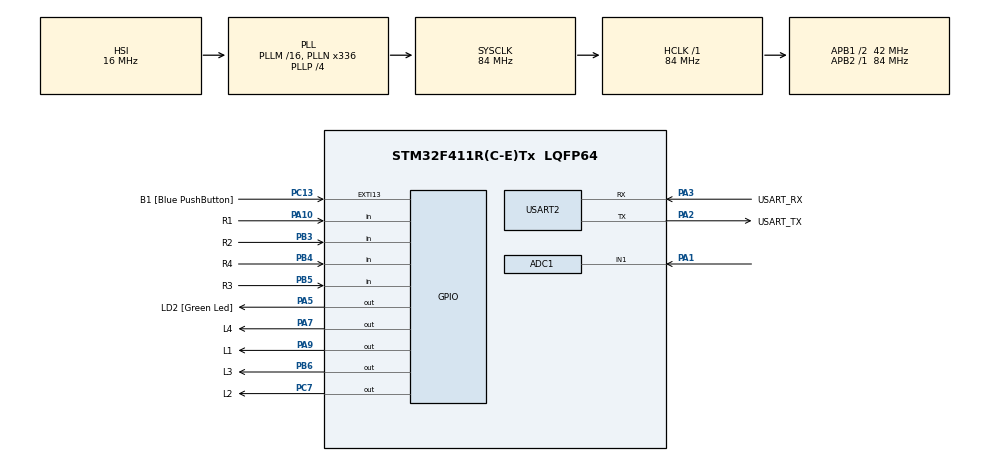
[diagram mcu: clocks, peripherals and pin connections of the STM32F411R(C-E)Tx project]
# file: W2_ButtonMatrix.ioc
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ADC1.Channel-5\#ChannelRegularConversion=ADC_CHANNEL_1
ADC1.ContinuousConvMode=ENABLE
ADC1.DMAContinuousRequests=ENABLE
ADC1.NbrOfConversionFlag=1
ADC1.Rank-5\#ChannelRegularConversion=1
ADC1.SamplingTime-5\#ChannelRegularConversion=ADC_SAMPLETIME_3CYCLES
ADC1.ScanConvMode=ENABLE
ADC1.master=1
Dma.ADC1.0.Direction=DMA_PERIPH_TO_MEMORY
Dma.ADC1.0.FIFOMode=DMA_FIFOMODE_DISABLE
Dma.ADC1.0.Instance=DMA2_Stream0
Dma.ADC1.0.MemDataAlignment=DMA_MDATAALIGN_WORD
Dma.ADC1.0.MemInc=DMA_MINC_ENABLE
Dma.ADC1.0.Mode=DMA_CIRCULAR
Dma.ADC1.0.PeriphDataAlignment=DMA_PDATAALIGN_WORD
Dma.ADC1.0.PeriphInc=DMA_PINC_DISABLE
Dma.ADC1.0.Priority=DMA_PRIORITY_LOW
Dma.Request0=ADC1
Mcu.Family=STM32F4
Mcu.Name=STM32F411R(C-E)Tx
Mcu.Package=LQFP64
NVIC.DMA2_Stream0_IRQn=true\:0\:0\:false\:false\:true\:false\:true\:true
NVIC.EXTI15_10_IRQn=true\:0\:0\:false\:false\:true\:true\:true\:true
NVIC.PriorityGroup=NVIC_PRIORITYGROUP_0
NVIC.TIM3_IRQn=true\:0\:0\:false\:false\:true\:true\:true\:true
PA1.Signal=ADCx_IN1
PA10.GPIO_Label=R1
PA10.GPIO_Mode=GPIO_MODE_INPUT
PA10.GPIO_PuPd=GPIO_PULLUP
PA10.Signal=GPIO_Input
PA13.GPIO_Label=TMS
PA13.Mode=Serial_Wire
PA13.Signal=SYS_JTMS-SWDIO
PA14.GPIO_Label=TCK
PA14.Mode=Serial_Wire
PA14.Signal=SYS_JTCK-SWCLK
PA2.GPIO_Label=USART_TX
PA2.Mode=Asynchronous
PA2.Signal=USART2_TX
PA3.GPIO_Label=USART_RX
PA3.Mode=Asynchronous
PA3.Signal=USART2_RX
PA5.GPIO_Label=LD2 [Green Led]
PA5.Signal=GPIO_Output
PA7.GPIO_Label=L4
PA7.GPIO_ModeDefaultOutputPP=GPIO_MODE_OUTPUT_OD
PA7.GPIO_PuPd=GPIO_NOPULL
PA7.Signal=GPIO_Output
PA9.GPIO_Label=L1
PA9.GPIO_ModeDefaultOutputPP=GPIO_MODE_OUTPUT_OD
PA9.GPIO_PuPd=GPIO_NOPULL
PA9.Signal=GPIO_Output
PB3.GPIO_Label=R2
PB3.GPIO_Mode=GPIO_MODE_INPUT
PB3.GPIO_PuPd=GPIO_PULLUP
PB3.Signal=GPIO_Input
PB4.GPIO_Label=R4
PB4.GPIO_Mode=GPIO_MODE_INPUT
PB4.GPIO_PuPd=GPIO_PULLUP
PB4.Signal=GPIO_Input
PB5.GPIO_Label=R3
PB5.GPIO_Mode=GPIO_MODE_INPUT
PB5.GPIO_PuPd=GPIO_PULLUP
PB5.Signal=GPIO_Input
PB6.GPIO_Label=L3
PB6.GPIO_ModeDefaultOutputPP=GPIO_MODE_OUTPUT_OD
PB6.GPIO_PuPd=GPIO_NOPULL
PB6.Signal=GPIO_Output
PC13-ANTI_TAMP.GPIO_Label=B1 [Blue PushButton]
PC13-ANTI_TAMP.GPIO_ModeDefaultEXTI=GPIO_MODE_IT_FALLING
PC13-ANTI_TAMP.GPIO_PuPd=GPIO_PULLUP
PC13-ANTI_TAMP.Signal=GPXTI13
PC14-OSC32_IN.Mode=LSE-External-Oscillator
PC14-OSC32_IN.Signal=RCC_OSC32_IN
PC15-OSC32_OUT.Mode=LSE-External-Oscillator
PC15-OSC32_OUT.Signal=RCC_OSC32_OUT
PC7.GPIO_Label=L2
PC7.GPIO_ModeDefaultOutputPP=GPIO_MODE_OUTPUT_OD
PC7.GPIO_PuPd=GPIO_NOPULL
PC7.Signal=GPIO_Output
PH0\ -\ OSC_IN.Mode=HSE-External-Clock-Source
PH0\ -\ OSC_IN.Signal=RCC_OSC_IN
PH1\ -\ OSC_OUT.Mode=HSE-External-Clock-Source
PH1\ -\ OSC_OUT.Signal=RCC_OSC_OUT
ProjectManager.HeapSize=0x200
ProjectManager.StackSize=0x400
ProjectManager.TargetToolchain=STM32CubeIDE
RCC.48MHZClocksFreq_Value=84000000
RCC.AHBFreq_Value=84000000
RCC.APB1CLKDivider=RCC_HCLK_DIV2
RCC.APB1Freq_Value=42000000
RCC.APB1TimFreq_Value=84000000
RCC.APB2Freq_Value=84000000
RCC.APB2TimFreq_Value=84000000
RCC.CortexFreq_Value=84000000
RCC.FLatency-AdvancedSettings=FLASH_LATENCY_2
RCC.HCLKFreq_Value=84000000
RCC.HSE_VALUE=8000000
RCC.HSI_VALUE=16000000
RCC.PLLN=336
RCC.PLLP=RCC_PLLP_DIV4
RCC.SYSCLKFreq_VALUE=84000000
RCC.SYSCLKSource=RCC_SYSCLKSOURCE_PLLCLK
RCC.VCOOutputFreq_Value=336000000
SH.ADCx_IN1.0=ADC1_IN1,IN1
TIM3.Period=4999
TIM3.Prescaler=99
USART2.VirtualMode=VM_ASYNC
VP_TIM3_VS_ClockSourceINT.Mode=Internal
board=NUCLEO-F411RE

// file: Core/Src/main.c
/* USER CODE BEGIN Header */
/**
  ******************************************************************************
  * @file           : main.c
  * @brief          : Main program body
  ******************************************************************************
  * @attention
  *
  * Copyright (c) 2022 STMicroelectronics.
  * All rights reserved.
  *
  * This software is licensed under terms that can be found in the LICENSE file
  * in the root directory of this software component.
  * If no LICENSE file comes with this software, it is provided AS-IS.
  *
  ******************************************************************************
  */
/* USER CODE END Header */
#include "main.h"

 ADC_HandleTypeDef hadc1;
DMA_HandleTypeDef hdma_adc1;

TIM_HandleTypeDef htim3;

UART_HandleTypeDef huart2;

/* USER CODE BEGIN PV */
	//------------------------------------------------------------------------------------------Values
uint32_t ADCData[1]={0};

uint16_t ButtonState = 0; //store 4x4

static int CurrentDegree = 0;
static int InputDegree = 0;

int count100 = 0;
int count10 = 0;
int count1 = 0;
int count_100 = 0;
int count_10 = 0;
int count_1 = 0;

static int checktoggle[2] = {0};

//static uint16_t DataAns[2] = {0};
//static uint16_t DataAns[11] = {0};

//int i = 0;

/* USER CODE END PV */

void SystemClock_Config(void);
static void MX_GPIO_Init(void);
static void MX_USART2_UART_Init(void);
static void MX_DMA_Init(void);
static void MX_TIM3_Init(void);
static void MX_ADC1_Init(void);
/* USER CODE BEGIN PFP */
void ButtonMatrixRead();
void KEYDEG();
/* USER CODE END PFP */

int main(void)
{

  /* MCU Configuration--------------------------------------------------------*/

  /* Reset of all peripherals, Initializes the Flash interface and the Systick. */
  HAL_Init();

  /* Configure the system clock */
  SystemClock_Config();

  /* Initialize all configured peripherals */
  MX_GPIO_Init();
  MX_USART2_UART_Init();
  MX_DMA_Init();
  MX_TIM3_Init();
  MX_ADC1_Init();
  /* USER CODE BEGIN 2 */

  //-------------------------------------------------------------------------------------------------Start reading ADC by DMA
  HAL_ADC_Start_DMA(&hadc1, ADCData, 1);	//(1channel form ADCData)

  /* USER CODE END 2 */

  /* Infinite loop */
  /* USER CODE BEGIN WHILE */
  while (1)
  {
	  //-------------------------------------------------------------------------------------------------------------------------------------------------- Competency
	  ButtonMatrixRead();
	  KEYDEG();

    /* USER CODE END WHILE */

  }
}

void SystemClock_Config(void)
{
  RCC_OscInitTypeDef RCC_OscInitStruct = {0};
  RCC_ClkInitTypeDef RCC_ClkInitStruct = {0};

  /** Configure the main internal regulator output voltage
  */
  __HAL_RCC_PWR_CLK_ENABLE();
  __HAL_PWR_VOLTAGESCALING_CONFIG(PWR_REGULATOR_VOLTAGE_SCALE1);

  /** Initializes the RCC Oscillators according to the specified parameters
  * in the RCC_OscInitTypeDef structure.
  */
  RCC_OscInitStruct.OscillatorType = RCC_OSCILLATORTYPE_HSI;
  RCC_OscInitStruct.HSIState = RCC_HSI_ON;
  RCC_OscInitStruct.HSICalibrationValue = RCC_HSICALIBRATION_DEFAULT;
  RCC_OscInitStruct.PLL.PLLState = RCC_PLL_ON;
  RCC_OscInitStruct.PLL.PLLSource = RCC_PLLSOURCE_HSI;
  RCC_OscInitStruct.PLL.PLLM = 16;
  RCC_OscInitStruct.PLL.PLLN = 336;
  RCC_OscInitStruct.PLL.PLLP = RCC_PLLP_DIV4;
  RCC_OscInitStruct.PLL.PLLQ = 4;
  if (HAL_RCC_OscConfig(&RCC_OscInitStruct) != HAL_OK)
  {
    Error_Handler();
  }

  /** Initializes the CPU, AHB and APB buses clocks
  */
  RCC_ClkInitStruct.ClockType = RCC_CLOCKTYPE_HCLK|RCC_CLOCKTYPE_SYSCLK
                              |RCC_CLOCKTYPE_PCLK1|RCC_CLOCKTYPE_PCLK2;
  RCC_ClkInitStruct.SYSCLKSource = RCC_SYSCLKSOURCE_PLLCLK;
  RCC_ClkInitStruct.AHBCLKDivider = RCC_SYSCLK_DIV1;
  RCC_ClkInitStruct.APB1CLKDivider = RCC_HCLK_DIV2;
  RCC_ClkInitStruct.APB2CLKDivider = RCC_HCLK_DIV1;

  if (HAL_RCC_ClockConfig(&RCC_ClkInitStruct, FLASH_LATENCY_2) != HAL_OK)
  {
    Error_Handler();
  }
}

static void MX_ADC1_Init(void)
{

  ADC_ChannelConfTypeDef sConfig = {0};

  /** Configure the global features of the ADC (Clock, Resolution, Data Alignment and number of conversion)
  */
  hadc1.Instance = ADC1;
  hadc1.Init.ClockPrescaler = ADC_CLOCK_SYNC_PCLK_DIV4;
  hadc1.Init.Resolution = ADC_RESOLUTION_12B;
  hadc1.Init.ScanConvMode = ENABLE;
  hadc1.Init.ContinuousConvMode = ENABLE;
  hadc1.Init.DiscontinuousConvMode = DISABLE;
  hadc1.Init.ExternalTrigConvEdge = ADC_EXTERNALTRIGCONVEDGE_NONE;
  hadc1.Init.ExternalTrigConv = ADC_SOFTWARE_START;
  hadc1.Init.DataAlign = ADC_DATAALIGN_RIGHT;
  hadc1.Init.NbrOfConversion = 1;
  hadc1.Init.DMAContinuousRequests = ENABLE;
  hadc1.Init.EOCSelection = ADC_EOC_SINGLE_CONV;
  if (HAL_ADC_Init(&hadc1) != HAL_OK)
  {
    Error_Handler();
  }

  /** Configure for the selected ADC regular channel its corresponding rank in the sequencer and its sample time.
  */
  sConfig.Channel = ADC_CHANNEL_1;
  sConfig.Rank = 1;
  sConfig.SamplingTime = ADC_SAMPLETIME_3CYCLES;
  if (HAL_ADC_ConfigChannel(&hadc1, &sConfig) != HAL_OK)
  {
    Error_Handler();
  }

}

static void MX_TIM3_Init(void)
{

  TIM_ClockConfigTypeDef sClockSourceConfig = {0};
  TIM_MasterConfigTypeDef sMasterConfig = {0};

  htim3.Instance = TIM3;
  htim3.Init.Prescaler = 99;
  htim3.Init.CounterMode = TIM_COUNTERMODE_UP;
  htim3.Init.Period = 4999;
  htim3.Init.ClockDivision = TIM_CLOCKDIVISION_DIV1;
  htim3.Init.AutoReloadPreload = TIM_AUTORELOAD_PRELOAD_DISABLE;
  if (HAL_TIM_Base_Init(&htim3) != HAL_OK)
  {
    Error_Handler();
  }
  sClockSourceConfig.ClockSource = TIM_CLOCKSOURCE_INTERNAL;
  if (HAL_TIM_ConfigClockSource(&htim3, &sClockSourceConfig) != HAL_OK)
  {
    Error_Handler();
  }
  sMasterConfig.MasterOutputTrigger = TIM_TRGO_RESET;
  sMasterConfig.MasterSlaveMode = TIM_MASTERSLAVEMODE_DISABLE;
  if (HAL_TIMEx_MasterConfigSynchronization(&htim3, &sMasterConfig) != HAL_OK)
  {
    Error_Handler();
  }

}

static void MX_USART2_UART_Init(void)
{

  huart2.Instance = USART2;
  huart2.Init.BaudRate = 115200;
  huart2.Init.WordLength = UART_WORDLENGTH_8B;
  huart2.Init.StopBits = UART_STOPBITS_1;
  huart2.Init.Parity = UART_PARITY_NONE;
  huart2.Init.Mode = UART_MODE_TX_RX;
  huart2.Init.HwFlowCtl = UART_HWCONTROL_NONE;
  huart2.Init.OverSampling = UART_OVERSAMPLING_16;
  if (HAL_UART_Init(&huart2) != HAL_OK)
  {
    Error_Handler();
  }

}

static void MX_DMA_Init(void)
{

  /* DMA controller clock enable */
  __HAL_RCC_DMA2_CLK_ENABLE();

  /* DMA interrupt init */
  /* DMA2_Stream0_IRQn interrupt configuration */
  HAL_NVIC_SetPriority(DMA2_Stream0_IRQn, 0, 0);
  HAL_NVIC_EnableIRQ(DMA2_Stream0_IRQn);

}

static void MX_GPIO_Init(void)
{
  GPIO_InitTypeDef GPIO_InitStruct = {0};

  /* GPIO Ports Clock Enable */
  __HAL_RCC_GPIOC_CLK_ENABLE();
  __HAL_RCC_GPIOH_CLK_ENABLE();
  __HAL_RCC_GPIOA_CLK_ENABLE();
  __HAL_RCC_GPIOB_CLK_ENABLE();

  /*Configure GPIO pin Output Level */
  HAL_GPIO_WritePin(GPIOA, LD2_Pin|L4_Pin|L1_Pin, GPIO_PIN_RESET);

  /*Configure GPIO pin Output Level */
  HAL_GPIO_WritePin(L2_GPIO_Port, L2_Pin, GPIO_PIN_RESET);

  /*Configure GPIO pin Output Level */
  HAL_GPIO_WritePin(L3_GPIO_Port, L3_Pin, GPIO_PIN_RESET);

  /*Configure GPIO pin : B1_Pin */
  GPIO_InitStruct.Pin = B1_Pin;
  GPIO_InitStruct.Mode = GPIO_MODE_IT_FALLING;
  GPIO_InitStruct.Pull = GPIO_PULLUP;
  HAL_GPIO_Init(B1_GPIO_Port, &GPIO_InitStruct);

  /*Configure GPIO pin : LD2_Pin */
  GPIO_InitStruct.Pin = LD2_Pin;
  GPIO_InitStruct.Mode = GPIO_MODE_OUTPUT_PP;
  GPIO_InitStruct.Pull = GPIO_NOPULL;
  GPIO_InitStruct.Speed = GPIO_SPEED_FREQ_LOW;
  HAL_GPIO_Init(LD2_GPIO_Port, &GPIO_InitStruct);

  /*Configure GPIO pins : L4_Pin L1_Pin */
  GPIO_InitStruct.Pin = L4_Pin|L1_Pin;
  GPIO_InitStruct.Mode = GPIO_MODE_OUTPUT_OD;
  GPIO_InitStruct.Pull = GPIO_NOPULL;
  GPIO_InitStruct.Speed = GPIO_SPEED_FREQ_LOW;
  HAL_GPIO_Init(GPIOA, &GPIO_InitStruct);

  /*Configure GPIO pin : L2_Pin */
  GPIO_InitStruct.Pin = L2_Pin;
  GPIO_InitStruct.Mode = GPIO_MODE_OUTPUT_OD;
  GPIO_InitStruct.Pull = GPIO_NOPULL;
  GPIO_InitStruct.Speed = GPIO_SPEED_FREQ_LOW;
  HAL_GPIO_Init(L2_GPIO_Port, &GPIO_InitStruct);

  /*Configure GPIO pin : R1_Pin */
  GPIO_InitStruct.Pin = R1_Pin;
  GPIO_InitStruct.Mode = GPIO_MODE_INPUT;
  GPIO_InitStruct.Pull = GPIO_PULLUP;
  HAL_GPIO_Init(R1_GPIO_Port, &GPIO_InitStruct);

  /*Configure GPIO pins : R2_Pin R4_Pin R3_Pin */
  GPIO_InitStruct.Pin = R2_Pin|R4_Pin|R3_Pin;
  GPIO_InitStruct.Mode = GPIO_MODE_INPUT;
  GPIO_InitStruct.Pull = GPIO_PULLUP;
  HAL_GPIO_Init(GPIOB, &GPIO_InitStruct);

  /*Configure GPIO pin : L3_Pin */
  GPIO_InitStruct.Pin = L3_Pin;
  GPIO_InitStruct.Mode = GPIO_MODE_OUTPUT_OD;
  GPIO_InitStruct.Pull = GPIO_NOPULL;
  GPIO_InitStruct.Speed = GPIO_SPEED_FREQ_LOW;
  HAL_GPIO_Init(L3_GPIO_Port, &GPIO_InitStruct);

  /* EXTI interrupt init*/
  HAL_NVIC_SetPriority(EXTI15_10_IRQn, 0, 0);
  HAL_NVIC_EnableIRQ(EXTI15_10_IRQn);

}

/* USER CODE BEGIN 4 */
void KEYDEG(){
	static uint32_t timeStamp = 0;

	  if(InputDegree > 360){
		  InputDegree -= 360;
	  }
	  if(InputDegree < 0){
		  InputDegree *= -1;
	  }

	  CurrentDegree = (count100*100)+(count10*10)+(count1*1)+(count_100*-100)+(count_10*-10)+(count_1*-1);

	  if(HAL_GetTick() - timeStamp >= 100){
		  timeStamp = HAL_GetTick();

		  //-----------------------------------------------------------------------------------------------------------Push Some Toggle SW
		  //-------------------------------------------------------------------+100 deg
		  if(ButtonState == 1){
			  checktoggle[0] = 1;
			  if(checktoggle[1] == 0 && checktoggle[0] == 1){
				  count100 += 1;
				  CurrentDegree = (count100*100)+(count10*10)+(count1*1)+(count_100*-100)+(count_10*-10)+(count_1*-1);
			  }
		  }

		  //-------------------------------------------------------------------+10 deg
		  else if(ButtonState == 2){
			  checktoggle[0] = 1;
			  if(checktoggle[1] == 0 && checktoggle[0] == 1){
				  count10 += 1;
				  CurrentDegree = (count100*100)+(count10*10)+(count1*1)+(count_100*-100)+(count_10*-10)+(count_1*-1);
			  }
		  }

		  //-------------------------------------------------------------------+1 deg
		  else if(ButtonState == 4){
			  checktoggle[0] = 1;
			  if(checktoggle[1] == 0 && checktoggle[0] == 1){
				  count1 += 1;
				  CurrentDegree = (count100*100)+(count10*10)+(count1*1)+(count_100*-100)+(count_10*-10)+(count_1*-1);
			  }
		  }

		  //-------------------------------------------------------------------- -100 deg
		  else if(ButtonState == 16){
			  checktoggle[0] = 1;
			  if(checktoggle[1] == 0 && checktoggle[0] == 1){
				  count_100 += 1;
				  CurrentDegree = (count100*100)+(count10*10)+(count1*1)+(count_100*-100)+(count_10*-10)+(count_1*-1);
			  }
		  }

		  //-------------------------------------------------------------------- -10 deg
		  else if(ButtonState == 32){
			  checktoggle[0] = 1;
			  if(checktoggle[1] == 0 && checktoggle[0] == 1){
				  count_10 += 1;
				  CurrentDegree = (count100*100)+(count10*10)+(count1*1)+(count_100*-100)+(count_10*-10)+(count_1*-1);
			  }
		  }

		  //-------------------------------------------------------------------- -1 deg
		  else if(ButtonState == 64){
			  checktoggle[0] = 1;
			  if(checktoggle[1] == 0 && checktoggle[0] == 1){
				  count_1 += 1;
				  CurrentDegree = (count100*100)+(count10*10)+(count1*1)+(count_100*-100)+(count_10*-10)+(count_1*-1);
			  }
		  }

		  //-----------------------------------------------------------------------------------------------------------Enter SW
		  else if(ButtonState == 4096){
			  checktoggle[0] = 1;
			  if(checktoggle[1] == 0 && checktoggle[0] == 1){
				  InputDegree = (count100*100)+(count10*10)+(count1*1)+(count_100*-100)+(count_10*-10)+(count_1*-1);
				  CurrentDegree = InputDegree;
				  count100 = 0;
				  count10 = 0;
				  count1 = 0;
				  count_100 = 0;
				  count_10 = 0;
				  count_1 = 0;
			  }
		  }

		  //-----------------------------------------------------------------------------------------------------------SET Zero SW
		  else if(ButtonState == 8192){
			  checktoggle[0] = 1;
			  if(checktoggle[1] == 0 && checktoggle[0] == 1){
				  InputDegree = 0;
				  CurrentDegree = 0;
			  }
		  }

		  //-----------------------------------------------------------------------------------------------------------Reset Input
		  else if(ButtonState == 16384){
			  checktoggle[0] = 1;
			  if(checktoggle[1] == 0 && checktoggle[0] == 1){
				  count100 = 0;
				  count10 = 0;
				  count1 = 0;
				  count_100 = 0;
				  count_10 = 0;
				  count_1 = 0;
			  }
		  }

		  //-----------------------------------------------------------------------------------------------------------No push any Toggle SW
		  if(ButtonState == 0){
			  checktoggle[0] = 0;
		  }
		  checktoggle[1] = checktoggle[0];

		  //-----------------------------------------------------------------------------------------------------------No push any Toggle SW

	  }
}

//------------------------------------------------------------------------------------------------------------------------------------------- KEY PAD 4x4
//Read button state form 4x4 button
GPIO_TypeDef* ButtonMatrixPortR[4] = {R1_GPIO_Port,R2_GPIO_Port,R3_GPIO_Port,R4_GPIO_Port};
uint16_t ButtonMatrixPinR[4] = {R1_Pin,R2_Pin,R3_Pin,R4_Pin};

GPIO_TypeDef* ButtonMatrixPortL[4] = {L1_GPIO_Port,L2_GPIO_Port,L3_GPIO_Port,L4_GPIO_Port};
uint16_t ButtonMatrixPinL[4] = {L1_Pin,L2_Pin,L3_Pin,L4_Pin};

void ButtonMatrixRead()
{
	static uint32_t timeStamp = 0;
	static uint8_t CurrentL = 0;
	//call reader every 100ms
	if (HAL_GetTick() - timeStamp >= 100)
	{
		timeStamp = HAL_GetTick();

		for(int i = 0 ; i < 4; i++)
		{
			if ( HAL_GPIO_ReadPin(ButtonMatrixPortR[i], ButtonMatrixPinR[i]) == GPIO_PIN_RESET) // Button press
			{

				//set bit i to 1
				ButtonState |= 1 << (i + (CurrentL*4));
			}
			else
			{
				//set bit i to 0
				ButtonState &= ~(1 << (i + (CurrentL*4)));

			}

		}

		HAL_GPIO_WritePin(ButtonMatrixPortL[CurrentL], ButtonMatrixPinL[CurrentL], GPIO_PIN_SET);

		uint8_t nextL = ( CurrentL+1 ) % 4;
		HAL_GPIO_WritePin(ButtonMatrixPortL[nextL], ButtonMatrixPinL[nextL], GPIO_PIN_RESET);
		CurrentL = nextL;
	}

}

//------------------------------------------------------------------------------------------------------------------------------------------- Interupt
void HAL_GPIO_EXTI_Callback(uint16_t GPIO_Pin)
{
	if(GPIO_Pin == GPIO_PIN_13)
	{
		HAL_GPIO_TogglePin(LD2_GPIO_Port, LD2_Pin);

	}
}

/* USER CODE END 4 */

void Error_Handler(void)
{
  __disable_irq();
  while (1)
  {
  }
}
